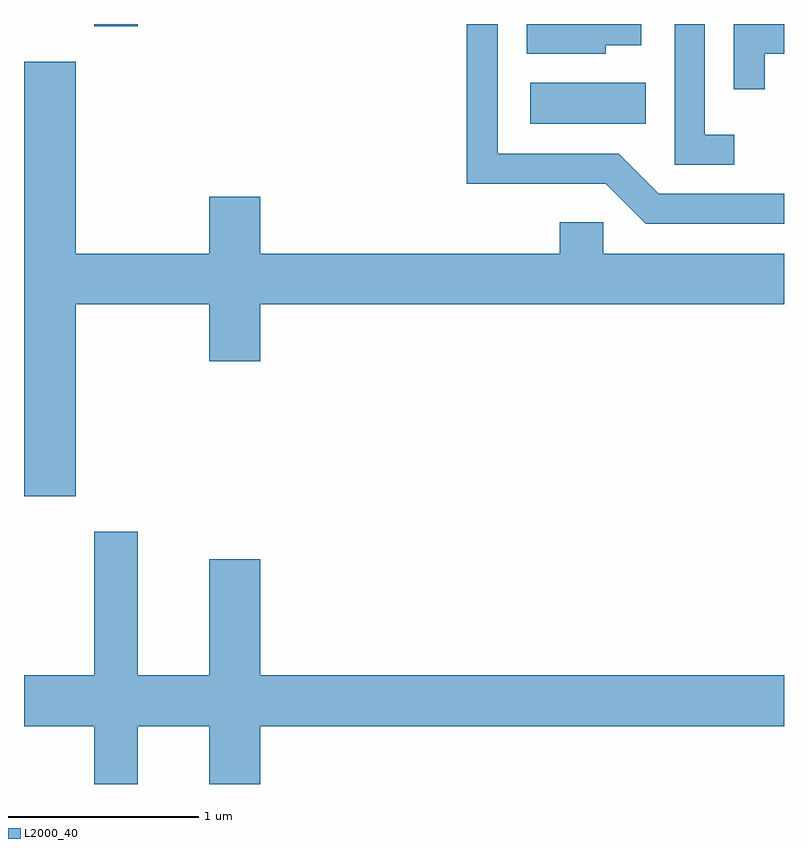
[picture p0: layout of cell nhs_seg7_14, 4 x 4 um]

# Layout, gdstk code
import gdstk
lib = gdstk.Library(unit=1e-6, precision=1e-09)
def R(c, l, rs):  # rectangles x0, y0, x1, y1
    for r in rs: c.add(gdstk.rectangle(r[:2], r[2:], *l))
def P(c, l, *ps):  # polygons
    for p in ps: c.add(gdstk.Polygon(p, *l))
L2000_40 = (2000, 40)

nhs_seg7_14 = lib.new_cell('nhs_seg7_14')
R(nhs_seg7_14, L2000_40, [(188.276,1699.726,188.884,1699.944), (185.981,1700.241,186.209,1700.252)])
P(nhs_seg7_14, L2000_40, [(189.611,1699.359),(188.952,1699.359),(188.742,1699.569),(188.104,1699.569),(188.104,1700.252),(187.941,1700.252),(187.941,1699.411),(188.674,1699.411),(188.884,1699.201),(189.611,1699.201)],
  [(189.348,1699.669),(189.194,1699.669),(189.194,1700.252),(189.036,1700.252),(189.036,1699.511),(189.348,1699.511)],
  [(188.674,1700.141),(188.859,1700.141),(188.859,1700.252),(188.256,1700.252),(188.256,1700.096),(188.674,1700.096)],
  [(189.509,1700.096),(189.611,1700.096),(189.611,1700.252),(189.346,1700.252),(189.346,1699.908),(189.509,1699.908)],
  [(185.884,1698.776),(186.586,1698.776),(186.586,1698.476),(186.854,1698.476),(186.854,1698.776),(189.611,1698.776),(189.611,1699.044),(188.659,1699.044),(188.659,1699.209),(188.431,1699.209),(188.431,1699.044),(186.854,1699.044),(186.854,1699.344),(186.586,1699.344),(186.586,1699.044),(185.884,1699.044),(185.884,1700.054),(185.611,1700.054),(185.611,1697.766),(185.884,1697.766)],
  [(186.209,1696.556),(186.586,1696.556),(186.586,1696.252),(186.854,1696.252),(186.854,1696.556),(189.611,1696.556),(189.611,1696.824),(186.854,1696.824),(186.854,1697.434),(186.586,1697.434),(186.586,1696.824),(186.209,1696.824),(186.209,1697.579),(185.981,1697.579),(185.981,1696.824),(185.611,1696.824),(185.611,1696.556),(185.981,1696.556),(185.981,1696.252),(186.209,1696.252)])

lib.write_gds('nhs_seg7_14.gds')
